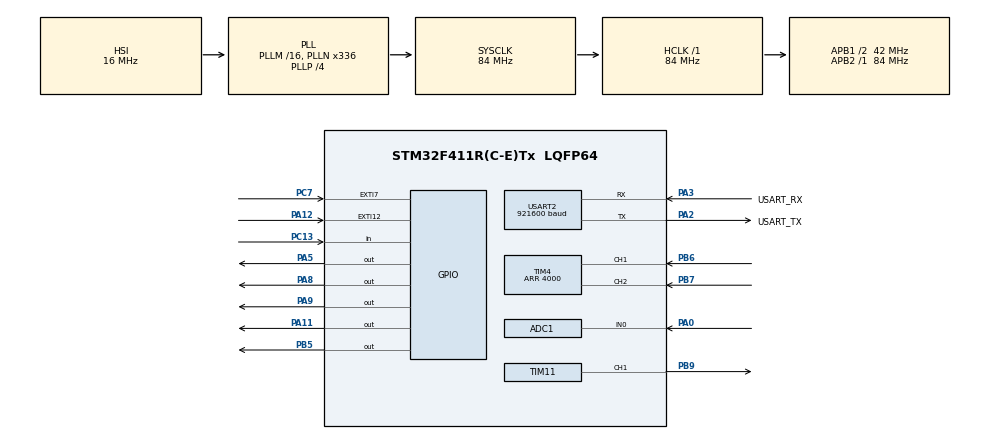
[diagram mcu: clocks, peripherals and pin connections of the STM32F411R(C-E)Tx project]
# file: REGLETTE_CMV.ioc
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ADC1.Channel-1\#ChannelRegularConversion=ADC_CHANNEL_0
ADC1.ContinuousConvMode=ENABLE
ADC1.DMAContinuousRequests=ENABLE
ADC1.InjNumberOfConversion=0
ADC1.NbrOfConversion=1
ADC1.NbrOfConversionFlag=1
ADC1.Rank-1\#ChannelRegularConversion=1
ADC1.SamplingTime-1\#ChannelRegularConversion=ADC_SAMPLETIME_3CYCLES
ADC1.ScanConvMode=DISABLE
ADC1.master=1
Dma.ADC1.0.Direction=DMA_PERIPH_TO_MEMORY
Dma.ADC1.0.FIFOMode=DMA_FIFOMODE_DISABLE
Dma.ADC1.0.Instance=DMA2_Stream0
Dma.ADC1.0.MemDataAlignment=DMA_MDATAALIGN_HALFWORD
Dma.ADC1.0.MemInc=DMA_MINC_ENABLE
Dma.ADC1.0.Mode=DMA_CIRCULAR
Dma.ADC1.0.PeriphDataAlignment=DMA_PDATAALIGN_HALFWORD
Dma.ADC1.0.PeriphInc=DMA_PINC_DISABLE
Dma.ADC1.0.Priority=DMA_PRIORITY_LOW
Dma.Request0=ADC1
Dma.Request1=USART2_TX
Dma.USART2_TX.1.Direction=DMA_MEMORY_TO_PERIPH
Dma.USART2_TX.1.FIFOMode=DMA_FIFOMODE_DISABLE
Dma.USART2_TX.1.Instance=DMA1_Stream6
Dma.USART2_TX.1.MemDataAlignment=DMA_MDATAALIGN_BYTE
Dma.USART2_TX.1.MemInc=DMA_MINC_ENABLE
Dma.USART2_TX.1.Mode=DMA_NORMAL
Dma.USART2_TX.1.PeriphDataAlignment=DMA_PDATAALIGN_BYTE
Dma.USART2_TX.1.PeriphInc=DMA_PINC_DISABLE
Dma.USART2_TX.1.Priority=DMA_PRIORITY_LOW
Mcu.Family=STM32F4
Mcu.Name=STM32F411R(C-E)Tx
Mcu.Package=LQFP64
NVIC.ADC_IRQn=true\:1\:0\:true\:false\:true\:true\:true\:true
NVIC.DMA1_Stream6_IRQn=true\:1\:2\:true\:false\:true\:true\:true\:true
NVIC.DMA2_Stream0_IRQn=true\:1\:0\:true\:false\:true\:true\:true\:true
NVIC.EXTI15_10_IRQn=true\:1\:0\:true\:false\:true\:true\:true\:true
NVIC.EXTI9_5_IRQn=true\:1\:0\:true\:false\:true\:true\:true\:true
NVIC.PriorityGroup=NVIC_PRIORITYGROUP_1
NVIC.TIM1_TRG_COM_TIM11_IRQn=true\:1\:1\:true\:false\:true\:true\:true\:true
NVIC.TIM2_IRQn=true\:1\:0\:true\:false\:true\:true\:true\:true
NVIC.TIM4_IRQn=true\:1\:0\:true\:false\:true\:true\:true\:true
NVIC.USART2_IRQn=true\:1\:0\:true\:false\:true\:true\:true\:true
PA0-WKUP.Signal=ADCx_IN0
PA11.Signal=GPIO_Output
PA12.Signal=GPXTI12
PA13.GPIO_Label=TMS
PA13.Mode=Serial_Wire
PA13.Signal=SYS_JTMS-SWDIO
PA14.GPIO_Label=TCK
PA14.Mode=Serial_Wire
PA14.Signal=SYS_JTCK-SWCLK
PA2.GPIO_Label=USART_TX
PA2.Mode=Asynchronous
PA2.Signal=USART2_TX
PA3.GPIO_Label=USART_RX
PA3.Mode=Asynchronous
PA3.Signal=USART2_RX
PA5.Signal=GPIO_Output
PA8.Signal=GPIO_Output
PA9.Signal=GPIO_Output
PB5.Signal=GPIO_Output
PB6.Signal=S_TIM4_CH1
PB7.Signal=S_TIM4_CH2
PB9.Signal=S_TIM11_CH1
PC13-ANTI_TAMP.Signal=GPIO_Input
PC14-OSC32_IN.Mode=LSE-External-Oscillator
PC14-OSC32_IN.Signal=RCC_OSC32_IN
PC15-OSC32_OUT.Mode=LSE-External-Oscillator
PC15-OSC32_OUT.Signal=RCC_OSC32_OUT
PC7.Signal=GPXTI7
PH0\ -\ OSC_IN.Mode=HSE-External-Clock-Source
PH0\ -\ OSC_IN.Signal=RCC_OSC_IN
PH1\ -\ OSC_OUT.Mode=HSE-External-Clock-Source
PH1\ -\ OSC_OUT.Signal=RCC_OSC_OUT
ProjectManager.HeapSize=0x200
ProjectManager.StackSize=0x400
ProjectManager.TargetToolchain=STM32CubeIDE
RCC.48MHZClocksFreq_Value=84000000
RCC.AHBFreq_Value=84000000
RCC.APB1CLKDivider=RCC_HCLK_DIV2
RCC.APB1Freq_Value=42000000
RCC.APB1TimFreq_Value=84000000
RCC.APB2Freq_Value=84000000
RCC.APB2TimFreq_Value=84000000
RCC.CortexFreq_Value=84000000
RCC.FLatency-AdvancedSettings=FLASH_LATENCY_2
RCC.HCLKFreq_Value=84000000
RCC.HSE_VALUE=8000000
RCC.HSI_VALUE=16000000
RCC.PLLN=336
RCC.PLLP=RCC_PLLP_DIV4
RCC.SYSCLKFreq_VALUE=84000000
RCC.SYSCLKSource=RCC_SYSCLKSOURCE_PLLCLK
RCC.VCOOutputFreq_Value=336000000
SH.ADCx_IN0.0=ADC1_IN0,IN0
SH.S_TIM11_CH1.0=TIM11_CH1,PWM Generation1 CH1
SH.S_TIM4_CH1.0=TIM4_CH1,Encoder_Interface
SH.S_TIM4_CH2.0=TIM4_CH2,Encoder_Interface
TIM11.AutoReloadPreload=TIM_AUTORELOAD_PRELOAD_ENABLE
TIM11.Channel=TIM_CHANNEL_1
TIM11.Period=1000
TIM3.AutoReloadPreload=TIM_AUTORELOAD_PRELOAD_ENABLE
TIM3.Period=1000
TIM3.Prescaler=0
TIM4.AutoReloadPreload=TIM_AUTORELOAD_PRELOAD_ENABLE
TIM4.EncoderMode=TIM_ENCODERMODE_TI12
TIM4.IC1Filter=10
TIM4.IC1Prescaler=TIM_ICPSC_DIV4
TIM4.IC2Filter=10
TIM4.IC2Prescaler=TIM_ICPSC_DIV4
TIM4.Period=4000
USART2.BaudRate=921600
USART2.Mode=MODE_TX_RX
USART2.VirtualMode=VM_ASYNC
VP_TIM11_VS_ClockSourceINT.Mode=Enable_Timer
VP_TIM2_VS_ClockSourceINT.Mode=Internal
VP_TIM3_VS_ClockSourceINT.Mode=Internal
board=NUCLEO-F411RE

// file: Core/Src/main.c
/* USER CODE BEGIN Header */
/**
  ******************************************************************************
  * @file           : main.c
  * @brief          : Main program body
  ******************************************************************************
  * @attention
  *
  * Copyright (c) 2024 STMicroelectronics.
  * All rights reserved.
  *
  * This software is licensed under terms that can be found in the LICENSE file
  * in the root directory of this software component.
  * If no LICENSE file comes with this software, it is provided AS-IS.
  *
  ******************************************************************************
  */
/* USER CODE END Header */
#include "main.h"
#include "adc.h"
#include "dma.h"
#include "tim.h"
#include "usart.h"
#include "gpio.h"

/* USER CODE BEGIN Includes */
#include "comm.h"
#include "accelerometer.h"
#include "pwmCommand.h"
#include "mccCommand.h"
#include "pidFilter.h"
#include "speed.h"
#include "tickTimer.h"
/* USER CODE END Includes */

/* USER CODE BEGIN PV */

volatile uint32_t ms_value = 0;
unsigned char rx_data[16];
char ident_data[5];
char value_data[13];

uint32_t test_t0, test_t1;

/* USER CODE END PV */

void SystemClock_Config(void);
/* USER CODE BEGIN PFP */
#ifdef __GNUC__
#define PUTCHAR_PROTOTYPE int __io_putchar(int ch)
#else
#define PUTCHAR_PROTOTYPE int fputc(int ch, FILE *f)
#endif

PUTCHAR_PROTOTYPE
{
	HAL_UART_Transmit(&huart2, (uint8_t *)&ch, 1, HAL_MAX_DELAY); //FOR DELAY
	return ch;
}
/* USER CODE END PFP */

int main(void)
{

  /* MCU Configuration--------------------------------------------------------*/

  /* Reset of all peripherals, Initializes the Flash interface and the Systick. */
  HAL_Init();

  /* Configure the system clock */
  SystemClock_Config();

  /* Initialize all configured peripherals */
  MX_GPIO_Init();
  MX_DMA_Init();
  MX_USART2_UART_Init();
  MX_ADC1_Init();
  MX_TIM2_Init();
  MX_TIM3_Init();
  MX_TIM11_Init();
  MX_TIM4_Init();
  /* USER CODE BEGIN 2 */
  HAL_TIM_Base_Start(&htim11);

  //INIT PERSOS
  pwm_Init();
  pwm_SetDuty(0.0f);

  /* ENCODER SPEED Init */
  encoder_Init();

  /* MCC Set Direction */
  mcc_SetCCW();
  mcc_SetMagnet(0);

  /* PID Init */
  pidFilter_Init();
  //pidFilter_SetFrequency(6.0f);
  pidFilter_SetCommand(180.0f);

  /* DMA ADC INIT*/
  acc_Init();
  HAL_Delay(100);

  /* USART RECEPTION */
  HAL_UART_Receive_IT(&huart2, rx_data, 16);

  HAL_Delay(100);

  /* TIM2 Global interruptions */
  tickTimer_Init(1); // period in ms

  //tickTimer_Start();
  /* Initial tickTime */
  /* USER CODE END 2 */

  /* Infinite loop */
  while (1)
  {

  }
}

void SystemClock_Config(void)
{
  RCC_OscInitTypeDef RCC_OscInitStruct = {0};
  RCC_ClkInitTypeDef RCC_ClkInitStruct = {0};

  /** Configure the main internal regulator output voltage
  */
  __HAL_RCC_PWR_CLK_ENABLE();
  __HAL_PWR_VOLTAGESCALING_CONFIG(PWR_REGULATOR_VOLTAGE_SCALE1);

  /** Initializes the RCC Oscillators according to the specified parameters
  * in the RCC_OscInitTypeDef structure.
  */
  RCC_OscInitStruct.OscillatorType = RCC_OSCILLATORTYPE_HSI;
  RCC_OscInitStruct.HSIState = RCC_HSI_ON;
  RCC_OscInitStruct.HSICalibrationValue = RCC_HSICALIBRATION_DEFAULT;
  RCC_OscInitStruct.PLL.PLLState = RCC_PLL_ON;
  RCC_OscInitStruct.PLL.PLLSource = RCC_PLLSOURCE_HSI;
  RCC_OscInitStruct.PLL.PLLM = 16;
  RCC_OscInitStruct.PLL.PLLN = 336;
  RCC_OscInitStruct.PLL.PLLP = RCC_PLLP_DIV4;
  RCC_OscInitStruct.PLL.PLLQ = 4;
  if (HAL_RCC_OscConfig(&RCC_OscInitStruct) != HAL_OK)
  {
    Error_Handler();
  }

  /** Initializes the CPU, AHB and APB buses clocks
  */
  RCC_ClkInitStruct.ClockType = RCC_CLOCKTYPE_HCLK|RCC_CLOCKTYPE_SYSCLK
                              |RCC_CLOCKTYPE_PCLK1|RCC_CLOCKTYPE_PCLK2;
  RCC_ClkInitStruct.SYSCLKSource = RCC_SYSCLKSOURCE_PLLCLK;
  RCC_ClkInitStruct.AHBCLKDivider = RCC_SYSCLK_DIV1;
  RCC_ClkInitStruct.APB1CLKDivider = RCC_HCLK_DIV2;
  RCC_ClkInitStruct.APB2CLKDivider = RCC_HCLK_DIV1;

  if (HAL_RCC_ClockConfig(&RCC_ClkInitStruct, FLASH_LATENCY_2) != HAL_OK)
  {
    Error_Handler();
  }
}

/* USER CODE BEGIN 4 */

//====================================================================
//			TIMER CALLBACK PERIOD
//====================================================================

void HAL_TIM_PeriodElapsedCallback(TIM_HandleTypeDef *htim)
{
	if (htim->Instance == TIM2){
	//====================================================================
	//			ms count
	//====================================================================
	ms_value++; //= HAL_GetTick();
	acc_StartDMA();
	/*
	 * Protocole données :
	 * 1. Récupération des données
	 * 		ADC
	 * 		Valeur tr/min
	 *
	 * 2. Traitement des données (optionnel)
	 * 		Si données ne sont pas formalisées, traitement
	 *
	 * 3. Préparation données à l'envoi
	 *
	 * 4. Envoi des données
	 */

	//mcc_SetMagnet(1);

	//printf("MOTOR SPEED %f \n\r", output_speed);
	//printf("PWM_Value %i \n\r", (int)PWM_Value);

	//====================================================================
	//			PID Filter
	//====================================================================
	// Constante de temps mécanique tm : 13ms
	// Stabilisation du moteur après sa commande : 5*tm
	if ((ms_value % 1) == 0)
	{
		//encoder_GetSpeed();

		acc_GetValue();

		acc_Voltage2Accel();

		comm_SendData(ms_value);

	}

	//====================================================================
	//			ms_count reset
	//====================================================================
	if ((ms_value % 10) == 0)
	{
		//pidFilter_Compute();
		encoder_GetSpeed();
		pidFilter_Compute();
	}
	//mcc_SetMagnet(0);
	acc_StopDMA();
}
}

void HAL_UART_RxCpltCallback(UART_HandleTypeDef *huart)
{
	/* Decoupage données */
	comm_SliceInput((char *)rx_data, ident_data, value_data);

	/* Traitement données */
	comm_ComputeInput(ident_data, value_data);

	memset(rx_data, 0, sizeof(rx_data)); //reset des données
	/* Réarmement réception */
	HAL_UART_Receive_IT(&huart2, rx_data, 16);
}

/* USER CODE END 4 */

void Error_Handler(void)
{
  __disable_irq();
  while (1)
  {
  }
}
